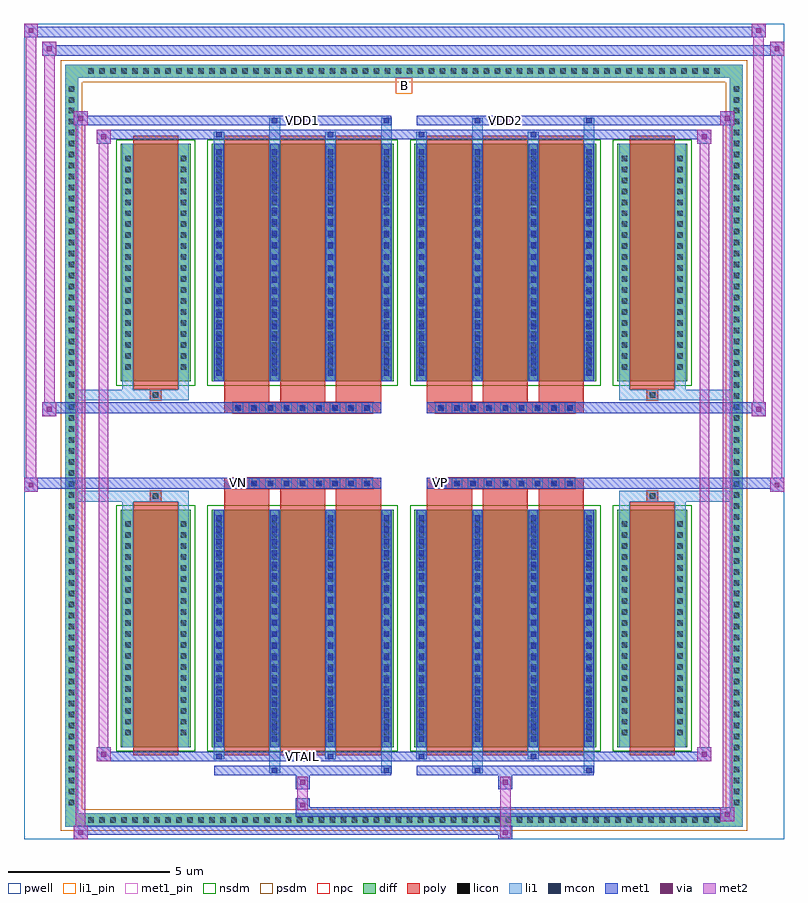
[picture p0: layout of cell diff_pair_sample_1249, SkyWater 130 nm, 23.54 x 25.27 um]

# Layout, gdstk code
import gdstk
lib = gdstk.Library(unit=1e-6, precision=5e-09)
def R(c, l, rs):  # rectangles x0, y0, x1, y1
    for r in rs: c.add(gdstk.rectangle(r[:2], r[2:], *l))
def A(c, l, x, y, w, h, nx, ny, dx, dy):  # array of equal rectangles
    R(c, l, [(x+i*dx, y+j*dy, x+i*dx+w, y+j*dy+h) for i in range(nx) for j in range(ny)])
def P(c, l, *ps):  # polygons
    for p in ps: c.add(gdstk.Polygon(p, *l))
pwell = (64, 44)
diff = (65, 20)
poly = (66, 20)
licon = (66, 44)
li1_pin = (67, 16)
li1 = (67, 20)
mcon = (67, 44)
met1_pin = (68, 16)
met1 = (68, 20)
via = (68, 44)
met2 = (69, 20)
nsdm = (93, 44)
psdm = (94, 20)
npc = (95, 20)

diff_pair_sample_1249 = lib.new_cell('diff_pair_sample_1249')
R(diff_pair_sample_1249, pwell, [(-11.77,-12.2,11.77,13.07), (-9.09,-10.39,-0.01,-0.805), (0.01,-10.39,9.09,-0.805), (-9.09,0.805,-0.01,10.39), (0.01,0.805,9.09,10.39)])
A(diff_pair_sample_1249, diff, -9.895, -11.8, 0.41, 0.41, 58, 2, 0.34, 23.19)
A(diff_pair_sample_1249, diff, -10.5, -11.255, 0.41, 0.41, 1, 66, 0, 0.34)
A(diff_pair_sample_1249, diff, 10.09, -11.255, 0.41, 0.41, 1, 66, 0, 0.34)
R(diff_pair_sample_1249, diff, [(-9.895,-11.8,9.895,-11.39), (-10.5,-11.255,-10.09,11.255), (10.09,-11.255,10.5,11.255), (-8.78,-9.345,-6.6,-1.985), (-5.96,-9.345,-0.32,-1.985), (0.32,-9.345,5.96,-1.985), (6.6,-9.345,8.78,-1.985), (-8.78,1.985,-6.6,9.345), (-5.96,1.985,-0.32,9.345), (0.32,1.985,5.96,9.345), (6.6,1.985,8.78,9.345), (-9.895,11.39,9.895,11.8)])
P(diff_pair_sample_1249, diff, [(10.5,11.8),(-10.5,11.8),(-10.5,-11.39),(-10.09,-11.39),(-10.09,11.39),(10.09,11.39),(10.09,-11.39),(-10.09,-11.39),(-10.5,-11.39),(-10.5,-11.8),(10.5,-11.8)])
A(diff_pair_sample_1249, poly, -5.57, -9.595, 1.4, 7.86, 3, 2, 1.73, 11.33)
A(diff_pair_sample_1249, poly, 0.71, -9.595, 1.4, 7.86, 3, 2, 1.73, 11.33)
A(diff_pair_sample_1249, poly, -5.57, -1.735, 1.4, 0.4, 3, 2, 1.73, 3.07)
A(diff_pair_sample_1249, poly, 0.71, -1.735, 1.4, 0.4, 3, 2, 1.73, 3.07)
A(diff_pair_sample_1249, poly, -5.305, -1.335, 0.33, 0.33, 9, 2, 0.5, 2.34)
A(diff_pair_sample_1249, poly, 0.975, -1.335, 0.33, 0.33, 9, 2, 0.5, 2.34)
R(diff_pair_sample_1249, poly, [(-8.39,-9.595,-6.99,-1.735), (6.99,-9.595,8.39,-1.735), (-7.855,-1.735,-7.525,-1.405), (-7.855,-1.735,-7.525,-1.405), (7.525,-1.735,7.855,-1.405), (7.525,-1.735,7.855,-1.405), (-5.57,-1.335,-0.71,-1.005), (0.71,-1.335,5.57,-1.005), (-5.57,1.005,-0.71,1.335), (0.71,1.005,5.57,1.335), (-7.855,1.405,-7.525,1.735), (-7.855,1.405,-7.525,1.735), (7.525,1.405,7.855,1.735), (7.525,1.405,7.855,1.735), (-8.39,1.735,-6.99,9.595), (6.99,1.735,8.39,9.595)])
A(diff_pair_sample_1249, licon, -9.775, -11.68, 0.17, 0.17, 58, 2, 0.34, 23.19)
A(diff_pair_sample_1249, licon, -10.38, -11.135, 0.17, 0.17, 1, 66, 0, 0.34)
A(diff_pair_sample_1249, licon, 10.21, -11.135, 0.17, 0.17, 1, 66, 0, 0.34)
A(diff_pair_sample_1249, licon, -8.64, -8.98, 0.17, 0.17, 1, 20, 0, 0.34)
A(diff_pair_sample_1249, licon, -6.91, -8.98, 0.17, 0.17, 1, 20, 0, 0.34)
A(diff_pair_sample_1249, licon, -5.82, -8.98, 0.17, 0.17, 4, 20, 1.73, 0.34)
A(diff_pair_sample_1249, licon, 0.46, -8.98, 0.17, 0.17, 4, 20, 1.73, 0.34)
A(diff_pair_sample_1249, licon, 6.74, -8.98, 0.17, 0.17, 1, 20, 0, 0.34)
A(diff_pair_sample_1249, licon, 8.47, -8.98, 0.17, 0.17, 1, 20, 0, 0.34)
A(diff_pair_sample_1249, licon, -5.225, -1.255, 0.17, 0.17, 9, 2, 0.5, 2.34)
A(diff_pair_sample_1249, licon, 1.055, -1.255, 0.17, 0.17, 9, 2, 0.5, 2.34)
A(diff_pair_sample_1249, licon, -8.64, 2.35, 0.17, 0.17, 1, 20, 0, 0.34)
A(diff_pair_sample_1249, licon, -6.91, 2.35, 0.17, 0.17, 1, 20, 0, 0.34)
A(diff_pair_sample_1249, licon, -5.82, 2.35, 0.17, 0.17, 4, 20, 1.73, 0.34)
A(diff_pair_sample_1249, licon, 0.46, 2.35, 0.17, 0.17, 4, 20, 1.73, 0.34)
A(diff_pair_sample_1249, licon, 6.74, 2.35, 0.17, 0.17, 1, 20, 0, 0.34)
A(diff_pair_sample_1249, licon, 8.47, 2.35, 0.17, 0.17, 1, 20, 0, 0.34)
R(diff_pair_sample_1249, licon, [(-7.775,-1.655,-7.605,-1.485), (7.605,-1.655,7.775,-1.485), (-7.775,1.485,-7.605,1.655), (7.605,1.485,7.775,1.655)])
R(diff_pair_sample_1249, li1_pin, [(-0.25,10.89,0.25,11.39)])
A(diff_pair_sample_1249, li1, -9.855, -11.76, 0.33, 0.33, 58, 2, 0.34, 23.19)
A(diff_pair_sample_1249, li1, -10.46, -11.215, 0.33, 0.33, 1, 66, 0, 0.34)
A(diff_pair_sample_1249, li1, 10.13, -11.215, 0.33, 0.33, 1, 66, 0, 0.34)
A(diff_pair_sample_1249, li1, -5.9, -9.345, 0.33, 7.36, 4, 2, 1.73, 11.33)
A(diff_pair_sample_1249, li1, 0.38, -9.345, 0.33, 7.36, 4, 2, 1.73, 11.33)
A(diff_pair_sample_1249, li1, -5.82, -9.17, 0.17, 0.17, 4, 20, 1.73, 0.36)
A(diff_pair_sample_1249, li1, -5.82, -9.17, 0.17, 7.01, 4, 2, 1.73, 11.33)
A(diff_pair_sample_1249, li1, 0.46, -9.17, 0.17, 0.17, 4, 20, 1.73, 0.36)
A(diff_pair_sample_1249, li1, 0.46, -9.17, 0.17, 7.01, 4, 2, 1.73, 11.33)
A(diff_pair_sample_1249, li1, -8.72, -9.06, 0.33, 0.33, 1, 20, 0, 0.34)
A(diff_pair_sample_1249, li1, -6.99, -9.06, 0.33, 0.33, 1, 20, 0, 0.34)
A(diff_pair_sample_1249, li1, -5.9, -9.06, 0.33, 0.33, 4, 20, 1.73, 0.34)
A(diff_pair_sample_1249, li1, 0.38, -9.06, 0.33, 0.33, 4, 20, 1.73, 0.34)
A(diff_pair_sample_1249, li1, 6.66, -9.06, 0.33, 0.33, 1, 20, 0, 0.34)
A(diff_pair_sample_1249, li1, 8.39, -9.06, 0.33, 0.33, 1, 20, 0, 0.34)
A(diff_pair_sample_1249, li1, -5.305, -1.335, 0.33, 0.33, 9, 2, 0.5, 2.34)
A(diff_pair_sample_1249, li1, 0.975, -1.335, 0.33, 0.33, 9, 2, 0.5, 2.34)
A(diff_pair_sample_1249, li1, -5.82, 2.16, 0.17, 0.17, 4, 20, 1.73, 0.36)
A(diff_pair_sample_1249, li1, 0.46, 2.16, 0.17, 0.17, 4, 20, 1.73, 0.36)
A(diff_pair_sample_1249, li1, -8.72, 2.27, 0.33, 0.33, 1, 20, 0, 0.34)
A(diff_pair_sample_1249, li1, -6.99, 2.27, 0.33, 0.33, 1, 20, 0, 0.34)
A(diff_pair_sample_1249, li1, -5.9, 2.27, 0.33, 0.33, 4, 20, 1.73, 0.34)
A(diff_pair_sample_1249, li1, 0.38, 2.27, 0.33, 0.33, 4, 20, 1.73, 0.34)
A(diff_pair_sample_1249, li1, 6.66, 2.27, 0.33, 0.33, 1, 20, 0, 0.34)
A(diff_pair_sample_1249, li1, 8.39, 2.27, 0.33, 0.33, 1, 20, 0, 0.34)
R(diff_pair_sample_1249, li1, [(-10.5,-11.8,-10.09,-11.39), (-10.5,-11.8,-10.09,-11.39), (-10.09,-11.8,10.09,-11.39), (10.09,-11.8,10.5,-11.39), (10.09,-11.8,10.5,-11.39), (-10.5,-11.39,-10.09,11.39), (10.09,-11.39,10.5,11.39), (-4.17,-10.15,-3.84,-9.345), (-4.09,-10.15,-3.92,-9.98), (-0.71,-10.15,-0.38,-9.345), (-0.63,-10.15,-0.46,-9.98), (2.11,-10.15,2.44,-9.345), (2.19,-10.15,2.36,-9.98), (5.57,-10.15,5.9,-9.345), (5.65,-10.15,5.82,-9.98), (-5.9,-9.72,-5.57,-9.345), (-5.82,-9.72,-5.65,-9.55), (-2.44,-9.72,-2.11,-9.345), (-2.36,-9.72,-2.19,-9.55), (0.38,-9.72,0.71,-9.345), (0.46,-9.72,0.63,-9.55), (3.84,-9.72,4.17,-9.345), (3.92,-9.72,4.09,-9.55), (-8.72,-9.345,-8.39,-1.985), (-6.99,-9.345,-6.66,-1.985), (6.66,-9.345,6.99,-1.985), (8.39,-9.345,8.72,-1.985), (-8.72,-1.985,-8.39,-1.405), (-6.99,-1.985,-6.66,-1.405), (6.66,-1.985,6.99,-1.405), (8.39,-1.985,8.72,-1.405), (-10.5,-1.735,-7.855,-1.405), (-8.72,-1.735,-7.855,-1.405), (-7.855,-1.735,-7.525,-1.405), (-7.525,-1.735,-6.66,-1.405), (6.66,-1.735,7.525,-1.405), (7.525,-1.735,7.855,-1.405), (7.525,-1.735,10.5,-1.405), (7.855,-1.735,8.72,-1.405), (-10.5,1.405,-7.855,1.735), (-8.72,1.405,-7.855,1.735), (-8.72,1.405,-8.39,1.985), (-7.855,1.405,-7.525,1.735), (-7.525,1.405,-6.66,1.735), (-6.99,1.405,-6.66,1.985), (6.66,1.405,7.525,1.735), (6.66,1.405,6.99,1.985), (7.525,1.405,7.855,1.735), (7.525,1.405,10.5,1.735), (7.855,1.405,8.72,1.735), (8.39,1.405,8.72,1.985), (-8.72,1.985,-8.39,9.345), (-6.99,1.985,-6.66,9.345), (6.66,1.985,6.99,9.345), (8.39,1.985,8.72,9.345), (-5.9,9.345,-5.57,9.72), (-4.17,9.345,-3.84,10.15), (-2.44,9.345,-2.11,9.72), (-0.71,9.345,-0.38,10.15), (0.38,9.345,0.71,9.72), (2.11,9.345,2.44,10.15), (3.84,9.345,4.17,9.72), (5.57,9.345,5.9,10.15), (-5.82,9.55,-5.65,9.72), (-2.36,9.55,-2.19,9.72), (0.46,9.55,0.63,9.72), (3.92,9.55,4.09,9.72), (-4.09,9.98,-3.92,10.15), (-0.63,9.98,-0.46,10.15), (2.19,9.98,2.36,10.15), (5.65,9.98,5.82,10.15), (-10.5,11.39,-10.09,11.8), (-10.5,11.39,-10.09,11.8), (-10.09,11.39,10.09,11.8), (10.09,11.39,10.5,11.8), (10.09,11.39,10.5,11.8)])
A(diff_pair_sample_1249, mcon, -5.82, -9.17, 0.17, 0.17, 4, 20, 1.73, 0.36)
A(diff_pair_sample_1249, mcon, 0.46, -9.17, 0.17, 0.17, 4, 20, 1.73, 0.36)
A(diff_pair_sample_1249, mcon, -5.225, -1.255, 0.17, 0.17, 9, 2, 0.5, 2.34)
A(diff_pair_sample_1249, mcon, 1.055, -1.255, 0.17, 0.17, 9, 2, 0.5, 2.34)
A(diff_pair_sample_1249, mcon, -5.82, 2.16, 0.17, 0.17, 4, 20, 1.73, 0.36)
A(diff_pair_sample_1249, mcon, 0.46, 2.16, 0.17, 0.17, 4, 20, 1.73, 0.36)
R(diff_pair_sample_1249, mcon, [(-4.09,-10.15,-3.92,-9.98), (-0.63,-10.15,-0.46,-9.98), (2.19,-10.15,2.36,-9.98), (5.65,-10.15,5.82,-9.98), (-5.82,-9.72,-5.65,-9.55), (-2.36,-9.72,-2.19,-9.55), (0.46,-9.72,0.63,-9.55), (3.92,-9.72,4.09,-9.55), (-5.82,9.55,-5.65,9.72), (-2.36,9.55,-2.19,9.72), (0.46,9.55,0.63,9.72), (3.92,9.55,4.09,9.72), (-4.09,9.98,-3.92,10.15), (-0.63,9.98,-0.46,10.15), (2.19,9.98,2.36,10.15), (5.65,9.98,5.82,10.15)])
R(diff_pair_sample_1249, met1_pin, [(-3.275,-9.76,-3.005,-9.49), (-5.275,-1.295,-5.005,-1.025), (1.005,-1.295,1.275,-1.025), (-3.275,9.94,-3.005,10.21), (3.005,9.94,3.275,10.21)])
A(diff_pair_sample_1249, met1, -5.88, -9.345, 0.29, 7.36, 4, 2, 1.73, 11.33)
A(diff_pair_sample_1249, met1, 0.4, -9.345, 0.29, 7.36, 4, 2, 1.73, 11.33)
A(diff_pair_sample_1249, met1, -5.88, -9.23, 0.29, 0.29, 4, 20, 1.73, 0.36)
A(diff_pair_sample_1249, met1, 0.4, -9.23, 0.29, 0.29, 4, 20, 1.73, 0.36)
A(diff_pair_sample_1249, met1, -5.285, -1.315, 0.29, 0.29, 9, 2, 0.5, 2.34)
A(diff_pair_sample_1249, met1, 0.995, -1.315, 0.29, 0.29, 9, 2, 0.5, 2.34)
A(diff_pair_sample_1249, met1, -5.88, 2.1, 0.29, 0.29, 4, 20, 1.73, 0.36)
A(diff_pair_sample_1249, met1, 0.4, 2.1, 0.29, 0.29, 4, 20, 1.73, 0.36)
R(diff_pair_sample_1249, met1, [(-10.23,-12.2,-9.8,-11.77), (2.925,-12.2,3.355,-11.77), (-10.23,-12.06,3.355,-11.77), (9.8,-11.63,10.23,-11.2), (-3.355,-11.49,10.23,-11.2), (-3.355,-11.35,-2.925,-10.92), (-3.355,-10.64,-2.925,-10.21), (2.925,-10.64,3.355,-10.21), (-5.88,-10.21,-0.4,-9.92), (-4.15,-10.21,-3.86,-9.92), (-0.69,-10.21,-0.4,-9.92), (0.4,-10.21,5.88,-9.92), (2.13,-10.21,2.42,-9.92), (5.59,-10.21,5.88,-9.92), (-9.52,-9.78,-9.09,-9.35), (-9.52,-9.78,-5.88,-9.49), (-5.88,-9.78,-5.59,-9.49), (-5.88,-9.78,-0.4,-9.49), (-2.42,-9.78,-2.13,-9.49), (-0.4,-9.78,0.4,-9.49), (0.4,-9.78,0.69,-9.49), (0.4,-9.78,5.88,-9.49), (3.86,-9.78,4.15,-9.49), (5.88,-9.78,9.52,-9.49), (9.09,-9.78,9.52,-9.35), (-11.77,-1.435,-11.34,-1.005), (11.34,-1.435,11.77,-1.005), (-11.77,-1.335,-0.71,-1.005), (-5.57,-1.335,-0.71,-1.005), (0.71,-1.335,5.57,-1.005), (0.71,-1.335,11.77,-1.005), (-11.2,0.905,-10.77,1.335), (10.77,0.905,11.2,1.335), (-11.2,1.005,-5.57,1.335), (-5.57,1.005,-0.71,1.335), (0.71,1.005,5.57,1.335), (5.57,1.005,11.2,1.335), (-9.52,9.35,-9.09,9.78), (9.09,9.35,9.52,9.78), (-9.52,9.49,-5.88,9.78), (-5.88,9.49,-5.59,9.78), (-5.88,9.49,-0.4,9.78), (-2.42,9.49,-2.13,9.78), (-0.4,9.49,0.4,9.78), (0.4,9.49,0.69,9.78), (0.4,9.49,5.88,9.78), (3.86,9.49,4.15,9.78), (5.88,9.49,9.52,9.78), (-10.23,9.92,-9.8,10.35), (-10.23,9.92,-5.88,10.21), (-5.88,9.92,-0.4,10.21), (-4.15,9.92,-3.86,10.21), (-0.69,9.92,-0.4,10.21), (0.4,9.92,5.88,10.21), (2.13,9.92,2.42,10.21), (5.59,9.92,5.88,10.21), (5.88,9.92,10.23,10.21), (9.8,9.92,10.23,10.35), (-11.2,12.07,-10.77,12.5), (-11.2,12.07,-9.09,12.4), (-9.09,12.07,9.09,12.4), (9.09,12.07,11.77,12.4), (11.34,12.07,11.77,12.5), (-11.77,12.64,-11.34,13.07), (-11.77,12.64,-9.09,12.97), (-9.09,12.64,9.09,12.97), (9.09,12.64,11.2,12.97), (10.77,12.64,11.2,13.07)])
R(diff_pair_sample_1249, via, [(-10.09,-12.06,-9.94,-11.91), (3.065,-12.06,3.215,-11.91), (9.94,-11.49,10.09,-11.34), (-3.215,-11.21,-3.065,-11.06), (-3.215,-10.5,-3.065,-10.35), (3.065,-10.5,3.215,-10.35), (-9.38,-9.64,-9.23,-9.49), (9.23,-9.64,9.38,-9.49), (-11.63,-1.295,-11.48,-1.145), (11.48,-1.295,11.63,-1.145), (-11.06,1.045,-10.91,1.195), (10.91,1.045,11.06,1.195), (-9.38,9.49,-9.23,9.64), (9.23,9.49,9.38,9.64), (-10.09,10.06,-9.94,10.21), (9.94,10.06,10.09,10.21), (-11.06,12.21,-10.91,12.36), (11.48,12.21,11.63,12.36), (-11.63,12.78,-11.48,12.93), (10.91,12.78,11.06,12.93)])
R(diff_pair_sample_1249, met2, [(-10.23,-12.2,-9.8,-11.77), (-10.16,-12.2,-9.87,10.35), (-9.87,-12.2,-9.8,-11.77), (-10.18,-12.15,-9.85,-11.82), (2.975,-12.15,3.305,-11.82), (2.975,-11.82,3.305,-10.59), (9.8,-11.63,10.23,-11.2), (9.87,-11.63,10.16,10.35), (10.16,-11.63,10.23,-11.2), (9.85,-11.58,10.18,-11.25), (-3.305,-11.3,-2.975,-10.97), (-3.305,-10.97,-2.975,-10.59), (-3.305,-10.59,-2.975,-10.26), (2.975,-10.59,3.305,-10.26), (-9.52,-9.78,-9.09,-9.35), (-9.45,-9.78,-9.16,9.78), (-9.16,-9.78,-9.09,-9.35), (9.09,-9.78,9.52,-9.35), (9.16,-9.78,9.45,9.78), (9.45,-9.78,9.52,-9.35), (-9.47,-9.73,-9.14,-9.4), (9.14,-9.73,9.47,-9.4), (-11.77,-1.435,-11.34,-1.005), (-11.72,-1.435,-11.39,13.07), (-11.39,-1.435,-11.34,-1.005), (11.34,-1.435,11.77,-1.005), (11.39,-1.435,11.72,12.5), (11.72,-1.435,11.77,-1.005), (-11.72,-1.385,-11.39,-1.055), (11.39,-1.385,11.72,-1.055), (-11.2,0.905,-10.77,1.335), (-11.15,0.905,-10.82,12.5), (-10.82,0.905,-10.77,1.335), (10.77,0.905,11.2,1.335), (10.82,0.905,11.15,13.07), (11.15,0.905,11.2,1.335), (-11.15,0.955,-10.82,1.285), (10.82,0.955,11.15,1.285), (-9.52,9.35,-9.09,9.78), (-9.16,9.35,-9.09,9.78), (9.09,9.35,9.52,9.78), (9.45,9.35,9.52,9.78), (-9.47,9.4,-9.14,9.73), (9.14,9.4,9.47,9.73), (-10.23,9.92,-9.8,10.35), (-9.87,9.92,-9.8,10.35), (9.8,9.92,10.23,10.35), (10.16,9.92,10.23,10.35), (-10.18,9.97,-9.85,10.3), (9.85,9.97,10.18,10.3), (-11.2,12.07,-10.77,12.5), (-10.82,12.07,-10.77,12.5), (11.34,12.07,11.77,12.5), (11.72,12.07,11.77,12.5), (-11.15,12.12,-10.82,12.45), (11.39,12.12,11.72,12.45), (-11.77,12.64,-11.34,13.07), (-11.39,12.64,-11.34,13.07), (10.77,12.64,11.2,13.07), (11.15,12.64,11.2,13.07), (-11.72,12.69,-11.39,13.02), (10.82,12.69,11.15,13.02)])
R(diff_pair_sample_1249, nsdm, [(-8.91,-9.475,-6.47,-1.855), (-6.09,-9.475,-0.19,-1.855), (0.19,-9.475,6.09,-1.855), (6.47,-9.475,8.91,-1.855), (-8.91,1.855,-6.47,9.475), (-6.09,1.855,-0.19,9.475), (0.19,1.855,6.09,9.475), (6.47,1.855,8.91,9.475)])
P(diff_pair_sample_1249, psdm, [(10.63,11.93),(-10.63,11.93),(-10.63,-11.26),(-9.96,-11.26),(-9.96,11.26),(9.96,11.26),(9.96,-11.26),(-9.96,-11.26),(-10.63,-11.26),(-10.63,-11.93),(10.63,-11.93)])
A(diff_pair_sample_1249, npc, -5.325, -1.355, 0.37, 0.37, 9, 2, 0.5, 2.34)
A(diff_pair_sample_1249, npc, 0.955, -1.355, 0.37, 0.37, 9, 2, 0.5, 2.34)
R(diff_pair_sample_1249, npc, [(-7.875,-1.755,-7.505,-1.385), (7.505,-1.755,7.875,-1.385), (-5.325,-1.355,-4.455,-0.985), (-5.325,-1.355,-4.455,-0.985), (-4.825,-1.355,-3.955,-0.985), (-4.825,-1.355,-3.955,-0.985), (-4.325,-1.355,-3.455,-0.985), (-4.325,-1.355,-3.455,-0.985), (-3.825,-1.355,-2.955,-0.985), (-3.825,-1.355,-2.955,-0.985), (-3.325,-1.355,-2.455,-0.985), (-3.325,-1.355,-2.455,-0.985), (-2.825,-1.355,-1.955,-0.985), (-2.825,-1.355,-1.955,-0.985), (-2.325,-1.355,-1.455,-0.985), (-2.325,-1.355,-1.455,-0.985), (-1.825,-1.355,-0.955,-0.985), (-1.825,-1.355,-0.955,-0.985), (0.955,-1.355,1.825,-0.985), (0.955,-1.355,1.825,-0.985), (1.455,-1.355,2.325,-0.985), (1.455,-1.355,2.325,-0.985), (1.955,-1.355,2.825,-0.985), (1.955,-1.355,2.825,-0.985), (2.455,-1.355,3.325,-0.985), (2.455,-1.355,3.325,-0.985), (2.955,-1.355,3.825,-0.985), (2.955,-1.355,3.825,-0.985), (3.455,-1.355,4.325,-0.985), (3.455,-1.355,4.325,-0.985), (3.955,-1.355,4.825,-0.985), (3.955,-1.355,4.825,-0.985), (4.455,-1.355,5.325,-0.985), (4.455,-1.355,5.325,-0.985), (-5.325,0.985,-4.455,1.355), (-5.325,0.985,-4.455,1.355), (-4.825,0.985,-3.955,1.355), (-4.825,0.985,-3.955,1.355), (-4.325,0.985,-3.455,1.355), (-4.325,0.985,-3.455,1.355), (-3.825,0.985,-2.955,1.355), (-3.825,0.985,-2.955,1.355), (-3.325,0.985,-2.455,1.355), (-3.325,0.985,-2.455,1.355), (-2.825,0.985,-1.955,1.355), (-2.825,0.985,-1.955,1.355), (-2.325,0.985,-1.455,1.355), (-2.325,0.985,-1.455,1.355), (-1.825,0.985,-0.955,1.355), (-1.825,0.985,-0.955,1.355), (0.955,0.985,1.825,1.355), (0.955,0.985,1.825,1.355), (1.455,0.985,2.325,1.355), (1.455,0.985,2.325,1.355), (1.955,0.985,2.825,1.355), (1.955,0.985,2.825,1.355), (2.455,0.985,3.325,1.355), (2.455,0.985,3.325,1.355), (2.955,0.985,3.825,1.355), (2.955,0.985,3.825,1.355), (3.455,0.985,4.325,1.355), (3.455,0.985,4.325,1.355), (3.955,0.985,4.825,1.355), (3.955,0.985,4.825,1.355), (4.455,0.985,5.325,1.355), (4.455,0.985,5.325,1.355), (-7.875,1.385,-7.505,1.755), (7.505,1.385,7.875,1.755)])
diff_pair_sample_1249.add(gdstk.Label('VTAIL', (-3.14,-9.625), layer=68, texttype=5))
diff_pair_sample_1249.add(gdstk.Label('VN', (-5.14,-1.16), layer=68, texttype=5))
diff_pair_sample_1249.add(gdstk.Label('VP', (1.14,-1.16), layer=68, texttype=5))
diff_pair_sample_1249.add(gdstk.Label('B', (0,11.14), layer=67, texttype=5))
diff_pair_sample_1249.add(gdstk.Label('VDD2', (3.14,10.075), layer=68, texttype=5))
diff_pair_sample_1249.add(gdstk.Label('VDD1', (-3.14,10.075), layer=68, texttype=5))

lib.write_gds('diff_pair_sample_1249.gds')
